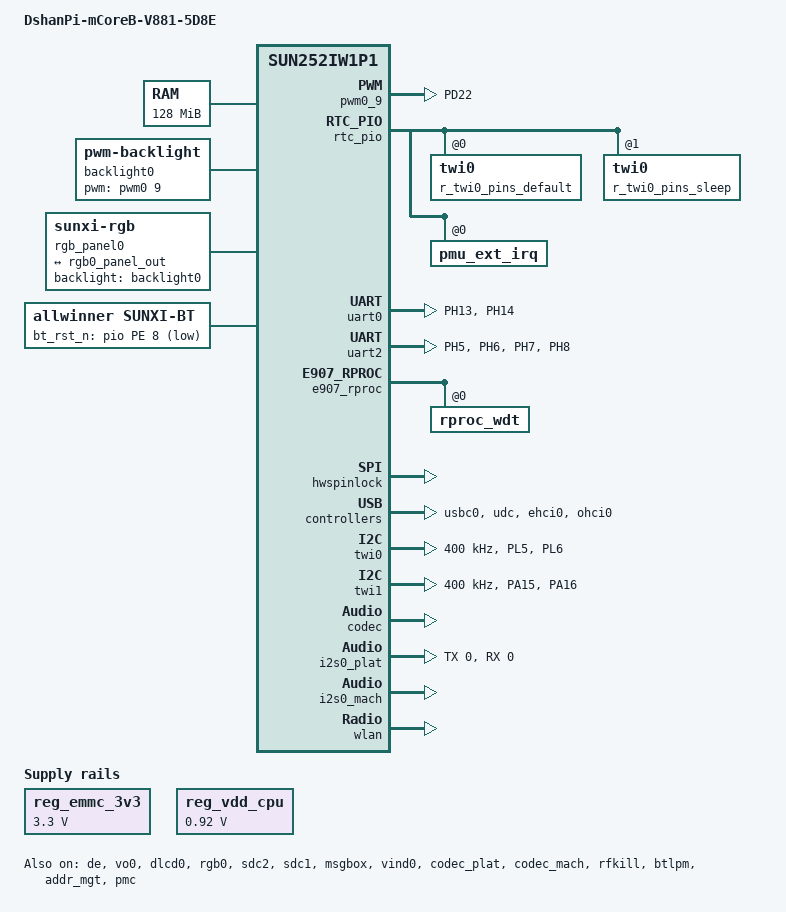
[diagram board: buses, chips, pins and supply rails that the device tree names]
// SPDX-License-Identifier: (GPL-2.0+ or MIT)

/dts-v1/;

#include "sun252iw1p1.dtsi"
#include <dt-bindings/input/input.h>

/{
	board = "V861", "V881", "DshanPi-mCoreB-V881-5D8E";
	model = "DshanPi-mCoreB-V881-5D8E";
	compatible = "allwinner,sun252iw1p1", "riscv,sun252iw1p1";

	memory@40000000 {
		reg = <0x00000000 0x40000000 0x00000000 0x08000000>;
	};
	reg_emmc_3v3: emmc-3v3 {
		compatible = "regulator-fixed";
		regulator-name = "emmc-3v3";
		regulator-min-microvolt = <3300000>;
		regulator-max-microvolt = <3300000>;
		regulator-always-on;
		regulator-boot-on;
	};
	reg_vdd_cpu: vdd-cpu {
		compatible = "regulator-fixed";
		regulator-name = "vdd_cpu";
		regulator-min-microvolt = <920000>;
		regulator-max-microvolt = <920000>;
		regulator-always-on;
		regulator-boot-on;
		status = "okay";
	};
	aliases {
		standby_param = &standby_param;
		pmu0 = &pmc;
	};

	standby_param: standby_param {
		compatible = "allwinner,sun252iw1-standby-param";
		ext32k = <0x1>;
		standby_dram_param = <&dram>;
		memory-region = <&standby_param_reserved>;
		status = "disabled";
		pmc = <(0x010 | 0x001 | 0x000)>;
		pwrctl_type = "PMC";
	};

	reserved-memory {
		standby_param_reserved: standby_param@40fc0000 {
			reg = <0x0 0x40fc0000 0x0 0x1000>;
			no-map;
		};

		e907_dram_reserved: e907_dram@41000000 {
			reg = <0x0 0x41000000 0x0 0x200000>;
			no-map;
		};

		/*
		 * The name should be "vdev%dbuffer".
		 * Its size should be not less than
		 *     RPMSG_BUF_SIZE * (num of buffers in a vring) * 2
		 *   = 512 * (num of buffers in a vring) * 2
		 */
		rv_vdev0buffer: vdev0buffer@41200000 {
			compatible = "shared-dma-pool";
			reg = <0x0 0x41200000 0x0 0x40000>;
			no-map;
		};

		/*
		 * The name should be "vdev%dvring%d".
		 * The size of each should be not less than
		 *     PAGE_ALIGN(vring_size(num, align))
		 *   = PAGE_ALIGN(16 * num + 6 + 2 * num + (pads for align) + 6 + 8 * num)
		 *
		 * (Please refer to the vring layout in include/uapi/linux/virtio_ring.h)
		 */
		rv_vdev0vring0: vdev0vring0@41240000 {
			reg = <0x0 0x41240000 0x0 0x2000>;
			no-map;
		};

		rv_vdev0vring1: vdev0vring1@41242000 {
			reg = <0x0 0x41242000 0x0 0x2000>;
			no-map;
		};

		e907_rpbuf_reserved: e907_rpbuf@41244000 {
			compatible = "shared-dma-pool";
			reg = <0x0 0x41244000 0x0 0x80000>;
			no-map;
		};

		e907_share_irq_table: share_irq_table@412c4000 {
			reg = <0x0 0x412c4000 0x0 0x2000>;
			no-map;
		};

		e907_mem_fw: e907_mem_fw@42400000 {
			/* boot0 & uboot0 load elf addr */
			reg = <0x0 0x42400000 0x0 0x200000>;
		};

		size_pool_mem: size_pool_mem@0{
			size = <0x0 0x3200000>;
		};
	};

	size_pool@0 {
		compatible = "allwinner,sunxi-size-pool-dma";
		memory = <&size_pool_mem>;
		thrs = <128>;
		sizes = <0 51200>;
		fall_to_big_pool = <1>;
	};

	rpbuf_controller0: rpbuf_controller0@0 {
		compatible = "allwinner,rpbuf-controller";
		remoteproc = <&e907_rproc>;
		ctrl_id = <0>;
		memory-region = <&e907_rpbuf_reserved>;
		status = "okay";
	};

	reserved-irq {
		share-e907 {
			arch-name = "e907";
			memory-region = <&e907_share_irq_table>;
			/* defined by sun252iw1-share-irq-dt.h */
			share-irq =
					<1    0x1    E907_PA_IRQ_NUM    C907_PA_IRQ_NUM    0x00000000>,
					<3    0x3    E907_PC_IRQ_NUM    C907_PC_IRQ_NUM    0x00000000>,
					<4    0x4    E907_PD_IRQ_NUM    C907_PD_IRQ_NUM    0x00000000>,
					<5    0x5    E907_PE_IRQ_NUM    C907_PE_IRQ_NUM    0x00000000>,
					<6    0x6    E907_PF_IRQ_NUM    C907_PF_IRQ_NUM    0x00000000>,
					<7    0x7    E907_PG_IRQ_NUM    C907_PG_IRQ_NUM    0x00000000>,
					<8    0x8    E907_PH_IRQ_NUM    C907_PH_IRQ_NUM    0x00000000>,
					<9    0x9    E907_PI_IRQ_NUM    C907_PI_IRQ_NUM    0x00000000>,
					<12   0xc    E907_PL_IRQ_NUM    C907_PL_IRQ_NUM    0x00000000>;
		};
	};

	backlight0: backlight0 {
		compatible = "pwm-backlight";
		status = "okay";
		brightness-levels = <
			  0   1   2   3   4   5   6   7
			  8   9  10  11  12  13  14  15
			 16  17  18  19  20  21  22  23
			 24  25  26  27  28  29  30  31
			 32  33  34  35  36  37  38  39
			 40  41  42  43  44  45  46  47
			 48  49  50  51  52  53  54  55
			 56  57  58  59  60  61  62  63
			 64  65  66  67  68  69  70  71
			 72  73  74  75  76  77  78  79
			 80  81  82  83  84  85  86  87
			 88  89  90  91  92  93  94  95
			 96  97  98  99 100 101 102 103
			104 105 106 107 108 109 110 111
			112 113 114 115 116 117 118 119
			120 121 122 123 124 125 126 127
			128 129 130 131 132 133 134 135
			136 137 138 139 140 141 142 143
			144 145 146 147 148 149 150 151
			152 153 154 155 156 157 158 159
			160 161 162 163 164 165 166 167
			168 169 170 171 172 173 174 175
			176 177 178 179 180 181 182 183
			184 185 186 187 188 189 190 191
			192 193 194 195 196 197 198 199
			200 201 202 203 204 205 206 207
			208 209 210 211 212 213 214 215
			216 217 218 219 220 221 222 223
			224 225 226 227 228 229 230 231
			232 233 234 235 236 237 238 239
			240 241 242 243 244 245 246 247
			248 249 250 251 252 253 254 255>;
		default-brightness-level = <255>;
		pwms = <&pwm0 9 25000 0>;
	};

	rgb_panel0: rgb_panel@0 {
		compatible = "sunxi-rgb";
		status = "okay";
		backlight = <&backlight0>;
		reg = <0>;
		display-timings {
			native-mode = <&rgb_timing0>;
			rgb_timing0: timing0 {
				clock-frequency = <33000000>;
				hactive = <800>;
				hfront-porch = <25>;
				hsync-len = <10>;
				hback-porch = <46>;
				vactive = <480>;
				vfront-porch = <22>;
				vsync-len = <10>;
				vback-porch = <20>;
			};
		};
		port {
			rgb0_panel_in: endpoint {
				remote-endpoint = <&rgb0_panel_out>;
			};
		};
	};

	pm_msgbox:pm_msgbox@1 {
		compatible = "allwinner,sun252iw1-pm-msgbox";
		mboxes = <&msgbox 2>;
		mbox-names = "pm-msgbox";
		status = "okay";
	};
};

&cpu0 {
	cpu-supply = <&reg_vdd_cpu>;
};

&cluster0_opp_table {
	opp@1368000000 {
		status = "disabled";
	};
	opp@1416000000 {
		status = "disabled";
	};
};

&ve {
	ve-supply = <&reg_vdd_cpu>;
};

&pio {
	uart0_pins_active: uart0_pins@0 {
		pins = "PH13", "PH14";
		function = "uart0";
	};

	uart0_pins_sleep: uart0_pins@1 {
		pins = "PH13", "PH14";
		function = "io_disabled";
	};

	uart1_pins_active: uart1_pins@0 {
		pins = "PG4", "PG5", "PG6", "PG7";
		function = "uart1";
	};

	uart1_pins_sleep: uart1_pins@1 {
		pins = "PG4", "PG5", "PG6", "PG7";
		function = "io_disabled";
	};

	uart2_pins_active: uart2_pins@0 {
		pins = "PH5", "PH6", "PH7", "PH8";
		function = "uart2";
	};

	uart2_pins_sleep: uart2_pins@1 {
		pins = "PH5", "PH6", "PH7", "PH8";
		function = "io_disabled";
	};

	uart3_pins_active: uart3_pins@0 {
		pins = "PH0", "PH1";
		function = "uart3";
	};

	uart3_pins_sleep: uart3_pins@1 {
		pins = "PH0", "PH1";
		function = "io_disabled";
	};

	spi0_pins_default: spi0@0 {
		pins = "PC0", "PC2", "PC3"; /* clk, mosi, miso */
		function = "spi0";
		allwinner,drive = <1>;
	};

	spi0_pins_cs: spi0@1 {
		pins = "PC1", "PC4", "PC5"; /* cs, wp, hold */
		function = "spi0";
		allwinner,drive = <1>;
		bias-pull-up;
	};

	spi0_pins_sleep: spi0@3 {
		pins = "PC0", "PC1", "PC2", "PC3", "PC4", "PC5";
		function = "io_disabled";
	};

	spif_pins_default: spif@0 {
		pins = "PC0", "PC2", "PC3"; /* clk, mosi, miso */
		function = "spif";
		allwinner,drive = <1>;
	};

	spif_pins_cs: spif@1 {
		pins = "PC1", "PC4", "PC5"; /* cs, wp, hold */
		function = "spif";
		allwinner,drive = <1>;
		bias-pull-up;
	};

	spif_pins_sleep: spif@2 {
		pins = "PC0", "PC1", "PC2", "PC3", "PC4", "PC5";
		function = "io_disabled";
	};

	twi0_pins_default: twi0@0 {
		pins = "PD20", "PD21";
		function = "twi0";
		bias-pull-up;
		allwinner,drive = <0>;
	};

	twi0_pins_sleep: twi0@1 {
		pins = "PD20", "PD21";
		function = "gpio_in";
	};

	twi1_pins_default: twi1@0 {
		pins = "PA15", "PA16";
		function = "twi1";
		bias-pull-up;
		allwinner,drive = <0>;
	};

	twi1_pins_sleep: twi1@1 {
		pins = "PA15", "PA16";
		function = "gpio_in";
	};

	twi2_pins_default: twi2@0 {
		pins = "PE10", "PE11";
		function = "twi2";
		bias-pull-up;
		allwinner,drive = <0>;
	};

	twi2_pins_sleep: twi2@1 {
		pins = "PE10", "PE11";
		function = "gpio_in";
	};

	twi3_pins_default: twi3@0 {
		pins = "PE12", "PE13";
		function = "twi3";
		bias-pull-up;
		allwinner,drive = <0>;
	};

	twi3_pins_sleep: twi3@1 {
		pins = "PE12", "PE13";
		function = "gpio_in";
	};

	i2s0_pins_a: i2s0@0 {
		pins = "PH0";
		function = "i2s0_mclk";
		allwinner,drive = <1>;
		bias-disable;
	};

	i2s0_pins_b: i2s0@1 {
		pins = "PH1";
		function = "i2s0_bclk";
		allwinner,drive = <1>;
		bias-disable;
	};

	i2s0_pins_c: i2s0@2 {
		pins = "PH2";
		function = "i2s0_lrck";
		allwinner,drive = <1>;
		bias-disable;
	};

	i2s0_pins_d: i2s0@3 {
		pins = "PH3";
		function = "i2s0_dout0";
		allwinner,drive = <1>;
		bias-disable;
	};

	i2s0_pins_e: i2s0@4 {
		pins = "PH4";
		function = "i2s0_din0";
		allwinner,drive = <1>;
		bias-disable;
	};

	i2s0_pins_f: i2s0@5 {
		pins = "PH0", "PH1", "PH2", "PH3", "PH4";
		function = "io_disabled";
		allwinner,drive = <1>;
		bias-disable;
	};

	pwm0_9_pins_active: pwm0_9@0 {
		pins = "PD22";
		function = "pwm_9";
	};

	pwm0_9_pins_sleep: pwm0_9@1 {
		pins = "PD22";
		function = "io_disabled";
		bias-pull-down;
	};

	gmac_pins_a: gmac@0 {
		pins = "PE0", "PE1", "PE2", "PE3",
		     "PE4", "PE5", "PE6", "PE7",
		     "PE8", "PE9", "PE10";
		function = "rmii0";
		drive-strength = <40>;
	};

	gmac_pins_b: gmac@1 {
		pins = "PE0", "PE1", "PE2", "PE3",
		     "PE4", "PE5", "PE6", "PE7",
		     "PE8", "PE9", "PE10";
		function = "io_disabled";
	};

	sdc0_pins_f: sdc0@5 {
		pins = "PF0", "PF1", "PF2",
			 "PF3", "PF4", "PF5";
		function = "io_disabled";
		bias-disable;
		power-source = <3300>;
	};
};

&de {
	chn_cfg_mode = <0>;
	status = "okay";
};

&vo0 {
	status = "okay";
};

&dlcd0 {
	status = "okay";
};

&rgb0 {
	status = "okay";
	pinctrl-names = "active", "sleep";
	pinctrl-0 = <&rgb24_pins_a> , <&rgb24_PD18_pin_a>;
	pinctrl-1 = <&rgb24_pins_b>;
	ports {
		port@1 {
			reg = <1>;
			rgb0_panel_out: endpoint@0 {
				reg = <0>;
				remote-endpoint = <&rgb0_panel_in>;
			};
		};
	};
};

&pwm0_9 {
	pinctrl-names = "active", "sleep";
	pinctrl-0 = <&pwm0_9_pins_active>;
	pinctrl-1 = <&pwm0_9_pins_sleep>;
	status = "okay";
};

&rtc_pio {
	r_twi0_pins_default: twi0@0 {
		pins = "PL5", "PL6";
		function = "s_twi0";
		bias-pull-up;
		allwinner,drive = <0>;
	};

	r_twi0_pins_sleep: twi0@1 {
		pins = "PL5", "PL6";
		function = "gpio_in";
	};

	pmu_ext_irq: pmu_ext_irq@0 {
		pins = "PL5";
		function = "gpio_in";
		bias-pull-down;
	};
};

&soc {
	gpio-keys {
		compatible = "gpio-keys";
		status = "disabled";

		power {
			label = "gpio-keys";
			linux,code = <KEY_POWER>;
			debounce-interval = <20>;
			gpios = <&pio PF 6 (GPIO_ACTIVE_LOW | GPIO_PULL_UP)>;
			wakeup-source;
		};
	};

	auto_print@54321 {
		reg = <0x0 0x54321 0x0 0x0>;
		device_type = "auto_print";
		status = "okay";
	};
};

&uart0 {
	pinctrl-names = "default", "sleep";
	pinctrl-0 = <&uart0_pins_active>;
	pinctrl-1 = <&uart0_pins_sleep>;
	status = "okay";
};

&uart1 {
	pinctrl-names = "default", "sleep";
	pinctrl-0 = <&uart1_pins_active>;
	pinctrl-1 = <&uart1_pins_sleep>;
	status = "disabled";
};

&uart2 {
	pinctrl-names = "default", "sleep";
	pinctrl-0 = <&uart2_pins_active>;
	pinctrl-1 = <&uart2_pins_sleep>;
	status = "okay";
};

&uart3 {
	pinctrl-names = "default", "sleep";
	pinctrl-0 = <&uart3_pins_active>;
	pinctrl-1 = <&uart3_pins_sleep>;
	uart3_type = <2>;
	status = "disabled";
};

&spi0 {
	pinctrl-0 = <&spi0_pins_default &spi0_pins_cs>;
	pinctrl-1 = <&spi0_pins_sleep>;
	pinctrl-names = "default", "sleep";
	sunxi,spi-bus-mode = <SUNXI_SPI_BUS_NAND>;
	sunxi,spi-cs-mode = <SUNXI_SPI_CS_SOFT>;
	status = "disabled";

	spi_board0 {
		compatible = "jedec,spi-nor";
		spi-max-frequency=<25000000>;
		reg = <0x0>;
		spi-rx-bus-width=<0x01>;
		spi-tx-bus-width=<0x01>;
		status = "disabled";
	};
	spi-nand@0 {
		compatible = "spi-nand";
		spi-max-frequency=<100000000>;
		reg = <0x0>;
		spi-rx-bus-width=<0x04>;
		spi-tx-bus-width=<0x04>;
		status = "disabled";
	};
};

&spif0 {
	clock-frequency = <100000000>;
	pinctrl-0 = <&spif_pins_default &spif_pins_cs>;
	pinctrl-1 = <&spif_pins_sleep>;
	pinctrl-names = "default", "sleep";
	spif-rx-bus-width = <0x4>;
	spif-tx-bus-width = <0x4>;
	//prefetch_read_mode_enabled;	/* choose prefect read mode */
	//dqs_mode_enabled;				/* choose dqs mode(nand provide clk mode) */
	dtr_mode_enabled;				/* choose double edge trigger mode */
	io_mode_enabled;				/* 1_x_x && x_x_x mode */
	status = "disabled";

	spif-nor  {
		device_type = "spi_board0";
		compatible = "spif-nor";
		spi-max-frequency = <0x5f5e100>;
		reg = <0x0>;
		status = "disabled";
	};
};

&gpadc0 {
	channel_num = <4>;
	channel_select = <0x1>;
	channel_data_select = <0x0>;
	channel_compare_select = <0x1>;
	channel_cld_select = <0x1>;
	channel_chd_select = <0x1>;
	channel0_compare_lowdata = <1200000>;
	channel0_compare_higdata = <1700000>;
	/* Boot-stall isolation: keep vendor driver unchanged. */
	status = "disabled";
	keyadc0 {
		key_cnt = <5>;
		key0_vol = <210>;
		key0_val = <KEY_VOLUMEUP>;
		key1_vol = <410>;
		key1_val = <KEY_VOLUMEDOWN>;
		key2_vol = <590>;
		key2_val = <KEY_MENU>;
		key3_vol = <750>;
		key3_val = <KEY_OK>;
		key4_vol = <880>;
		key4_val = <KEY_HOME>;
	};
};

&sdc2 {
	non-removable;
	bus-width = <8>;
	no-sdio;
	no-sd;
	ctl-spec-caps = <0x328>;
	cap-mmc-highspeed;
	sunxi-power-save-mode;
	sunxi-dis-signal-vol-sw;
	mmc-bootpart-noacc;
	/*cap-hsq;*/
	/* b2c-ecc-on; */
	/* cqe-ecc-on; */
	max-frequency = <50000000>;
	/*vmmc-supply = <&reg_cldo3>;*/
	/*emmc io vol 3.3v*/
	/*vqmmc-supply = <&reg_aldo1>;*/
	/*emmc io vol 1.8v*/
	/*vqmmc-supply = <&reg_cldo1>;*/
	status = "okay";
	vmmc-supply = <&reg_emmc_3v3>;
	vqmmc-supply = <&reg_emmc_3v3>;
	no-1-8-v;
};

&sdc0 {
	bus-width = <4>;
	cd-gpios = <&pio PF 6 (GPIO_ACTIVE_LOW | GPIO_PULL_UP)>;
	/*non-removable;*/
	/*broken-cd;*/
	/*cd-inverted*/
	/*data3-detect;*/
	card-pwr-gpios = <&pio PH 15 1 1 2 0xffffffff>;
	pinctrl-2 = <&sdc0_pins_f>;		/*Set the GPIO function in sleep mode to disable*/
	cd-used-24M;
	cd-set-debounce = <0x1>;
	cap-sd-highspeed;
	sd-uhs-sdr50;
	sd-uhs-ddr50;
	sd-uhs-sdr104;
	no-sdio;
	no-mmc;
	/* b2c-ecc-on; */
	sunxi-power-save-mode;
	/*sunxi-dis-signal-vol-sw;*/
	max-frequency = <150000000>;
	ctl-spec-caps = <0x428>;
	/*vmmc-supply = <&reg_cldo3>;*/
	/*vqmmc33sw-supply = <&reg_cldo3>;*/
	/*vdmmc33sw-supply = <&reg_cldo3>;*/
	/*vqmmc18sw-supply = <&reg_aldo4>;*/
	/*vdmmc18sw-supply = <&reg_aldo4>;*/
	disable_pf_reboot = <1>;		/*When rebooting, set the status of the PF pin to disable*/
	status = "disabled";
};

&sdc1 {
	bus-width = <4>;
	no-mmc;
	no-sd;
	cap-sd-highspeed;
	/*sd-uhs-sdr12*/
	sd-uhs-sdr25;
	sd-uhs-sdr50;
	sd-uhs-ddr50;
	sd-uhs-sdr104;
	/*sunxi-power-save-mode;*/
	sunxi-dis-signal-vol-sw;
	cap-sdio-irq;
	keep-power-in-suspend;
	ignore-pm-notify;
	max-frequency = <150000000>;
	ctl-spec-caps = <0x428>;
	status = "okay";
};

&e907_rproc {
	firmware-name = "amp_rv0.bin";
	mboxes = <&msgbox 0>, <&msgbox 2>;
	mbox-names = "arm-kick", "arm-standby";
	auto-boot;
	skip-shutdown;
	fw-region = <&e907_mem_fw>;
	memory-region = <&e907_dram_reserved>, <&rv_vdev0buffer>, <&rv_vdev0vring0>, <&rv_vdev0vring1>, <&e907_share_irq_table>;
	fw-partitions = "riscv0", "riscv0-r";
	fw-partition-sectors = <2432>;
	memory-mappings =
		/* < DA         len             PA >    */
		/* DRAM */
		< 0x40000000       0xBfffffff    0x40000000 >;
	stop-record-reg = <0x4a00020c>;

	share-irq = "e907";
	status = "okay";

	rproc_wdt: rproc_wdt@0 {
		timeout_ms = <6000>;
		try_times = <3>;
		reset_type = <0x2>;
		panic_on_timeout = <0>;
		status = "okay";
	};
};

&msgbox {
	status = "okay";
};

&hwspinlock {
	status = "okay";
};

/*
 * usb_port_type: usb mode. 0-device, 1-host, 2-otg.
 * usb_detect_type: usb hotplug detect mode. 0-none, 1-vbus/id detect, 2-pmu detect, 3-tcpm detect.
 * usb_detect_mode: 0-thread scan, 1-id gpio interrupt, 2-pmu notify.
 * usb_id_gpio: gpio for id detect.
 * usb_det_vbus_gpio: gpio for id detect. gpio or "axp_ctrl".
 * usb_wakeup_suspend: 0-SUPER_STANDBY, 1-USB_STANDBY.
 */
&usbc0 {
	device_type = "usbc0";
	usb_port_type = <0>;
	usb_detect_type = <1>;
	usb_detect_mode = <1>;
	usb_id_gpio = <&pio PH 2 GPIO_ACTIVE_HIGH>;
	usb_det_vbus_gpio;
	usb_wakeup_suspend = <0>;
	status = "okay";
	det_vbus_supply = <&pmc_usb_power_supply>;
};

&udc {
	status = "okay";
	det_vbus_supply = <&pmc_usb_power_supply>;
};

&ehci0 {
	status = "okay";
};

&ohci0 {
	status = "okay";
};

&twi0 {
	clock-frequency = <400000>;
	pinctrl-0 = <&r_twi0_pins_default>;
	pinctrl-1 = <&r_twi0_pins_sleep>;
	pinctrl-names = "default", "sleep";
	twi_drv_used = <1>;
	status = "okay";

};

&twi1 {
	clock-frequency = <400000>;
	pinctrl-0 = <&twi1_pins_default>;
	pinctrl-1 = <&twi1_pins_sleep>;
	pinctrl-names = "default", "sleep";
	twi_drv_used = <1>;
	status = "okay";
};

&twi2 {
	clock-frequency = <400000>;
	pinctrl-0 = <&twi2_pins_default>;
	pinctrl-1 = <&twi2_pins_sleep>;
	pinctrl-names = "default", "sleep";
	twi_drv_used = <1>;
	status = "disabled";
};

&twi3 {
	clock-frequency = <400000>;
	pinctrl-0 = <&twi3_pins_default>;
	pinctrl-1 = <&twi3_pins_sleep>;
	pinctrl-names = "default", "sleep";
	twi_drv_used = <1>;
	status = "disabled";

	mir3da: mir3da@27{
		compatible = "allwinner,mir3da";
		reg = <0x27>;
		device_type = "gsensor";
		status = "disabled";
		gsensor_twi_id = <0x3>;
		gsensor_twi_addr = <0x27>;
		gsesnor_int = <>;
		gsensor_vcc_io_val = <0>;
	};
};

&vind0 {
	csi_top = <300000000>;
	status = "okay";

	csi2: csi@5822000 {
		pinctrl-names = "default","sleep";
		pinctrl-0 = <&ncsi_8bit_pins_a>;
		pinctrl-1 = <&ncsi_8bit_pins_b>;
		status = "disabled";
	};

	tdm0: tdm@5908000 {
		work_mode = <0x0>;
		delay_init = <0>;
	};

	isp00:isp@5900000 {
		work_mode = <0x0>;
		delay_init = <0>;
	};

	isp01:isp@58ffffc {
		status = "disabled";
		delay_init = <0>;
	};

	isp02:isp@58ffff8 {
		status = "disabled";
		delay_init = <0>;
	};

	isp03:isp@58ffff4 {
		status = "disabled";
		delay_init = <0>;
	};

	isp10:isp@4 {
		status = "disabled";
	};

	isp20:isp@5 {
		status = "disabled";
	};

	isp30:isp@6 {
		status = "disabled";
	};

	scaler00:scaler@5910000 {
		work_mode = <0x0>;
		status = "okay";
		delay_init = <0>;
	};

	scaler01:scaler@590fffc {
		status = "disabled";
		delay_init = <0>;
	};

	scaler02:scaler@590fff8 {
		status = "disabled";
		delay_init = <0>;
	};

	scaler03:scaler@590fff4 {
		status = "disabled";
		delay_init = <0>;
	};

	scaler10:scaler@5910400 {
		work_mode = <0x0>;
		status = "okay";
		delay_init = <0>;
	};

	scaler11:scaler@59103fc {
		status = "disabled";
		delay_init = <0>;
	};

	scaler12:scaler@59103f8 {
		status = "disabled";
		delay_init = <0>;
	};

	scaler13:scaler@59103f4 {
		status = "disabled";
		delay_init = <0>;
	};

	scaler20:scaler@5910800 {
		work_mode = <0x0>;
		status = "okay";
		delay_init = <0>;
	};

	scaler21:scaler@59107fc {
		status = "disabled";
		delay_init = <0>;
	};

	scaler22:scaler@59107f8 {
		status = "disabled";
		delay_init = <0>;
	};

	scaler23:scaler@59107f4 {
		status = "disabled";
		delay_init = <0>;
	};

	scaler30:scaler@5910c00 {
		work_mode = <0x0>;
		status = "okay";
		delay_init = <0>;
	};

	scaler31:scaler@5910bfc {
		status = "disabled";
		delay_init = <0>;
	};

	scaler32:scaler@5910bf8 {
		status = "disabled";
		delay_init = <0>;
	};

	scaler33:scaler@5910bf4 {
		status = "disabled";
		delay_init = <0>;
	};

	actuator0: actuator@2108180 {
		device_type = "actuator0";
		actuator0_slave = <0x18>;
		actuator0_af_pwdn = <>;
		actuator0_afvdd = "afvcc-csi";
		actuator0_afvdd_vol = <2800000>;
		status = "disabled";
	};

	flash0: flash@2108190 {
		device_type = "flash0";
		flash0_type = <2>;
		flash0_en = <>;
		flash0_mode = <>;
		flash0_flvdd = "";
		flash0_flvdd_vol = <>;
		device_id = <0>;
		status = "disabled";
	};

	sensor0: sensor@5812000 {
		device_type = "sensor0";
		sensor0_mname = "gc4663_mipi";
		sensor0_twi_cci_id = <1>;
		sensor0_twi_addr = <0x52>;
		sensor0_mclk_id = <0>;
		sensor0_pos = "rear";
		sensor0_isp_used = <1>;
		sensor0_fmt = <1>;
		sensor0_stby_mode = <0>;
		sensor0_vflip = <0>;
		sensor0_hflip = <0>;
		sensor0_iovdd-supply = <>;
		sensor0_iovdd_vol = <>;
		sensor0_avdd-supply;
		sensor0_avdd_vol = <2800000>;
		sensor0_dvdd-supply = <>;
		sensor0_dvdd_vol = <>;
		sensor0_power_en = <>;
		sensor0_reset = <&pio PA 18 GPIO_ACTIVE_LOW>;
		sensor0_pwdn = <&pio PH 9 GPIO_ACTIVE_LOW>;
		status = "okay";
	};

	sensor1: sensor@5812010 {
		device_type = "sensor1";
		sensor1_mname = "gc1084_mipi_2";
		sensor1_twi_cci_id = <0>;
		sensor1_twi_addr = <0x7e>;
		sensor1_mclk_id = <1>;
		sensor1_pos = "front";
		sensor1_isp_used = <1>;
		sensor1_fmt = <1>;
		sensor1_stby_mode = <0>;
		sensor1_vflip = <0>;
		sensor1_hflip = <0>;
		sensor1_iovdd-supply = <>;
		sensor1_iovdd_vol = <>;
		sensor1_avdd-supply = <>;
		sensor1_avdd_vol = <2800000>;
		sensor1_dvdd-supply = <>;
		sensor1_dvdd_vol = <>;
		sensor1_power_en = <>;
		sensor1_reset = <&pio PE 1 GPIO_ACTIVE_LOW>;
		sensor1_pwdn = <>;
		status = "disabled";
	};

	sensor2: sensor@5812020 {
		device_type = "sensor2";
		sensor2_mname = "gc1084_mipi_3";
		sensor2_twi_cci_id = <0>;
		sensor2_twi_addr = <0x7e>;
		sensor2_mclk_id = <1>;
		sensor2_pos = "front";
		sensor2_isp_used = <1>;
		sensor2_fmt = <1>;
		sensor2_stby_mode = <0>;
		sensor2_vflip = <0>;
		sensor2_hflip = <0>;
		sensor2_iovdd-supply = <>;
		sensor2_iovdd_vol = <>;
		sensor2_avdd-supply = <>;
		sensor2_avdd_vol = <>;
		sensor2_dvdd-supply = <>;
		sensor2_dvdd_vol = <>;
		sensor2_power_en = <>;
		sensor2_reset = <&pio PD 13 GPIO_ACTIVE_LOW>;
		sensor2_pwdn = <>;
		status = "disabled";
	};

	sensor_list0:sensor_list@5812040 {
		sensor00_mname = "gc5035_mipi";
		sensor00_twi_addr = <0x6c>;
		sensor00_type = <1>;
		sensor00_hflip = <0>;
		sensor00_vflip = <0>;
		sensor00_act_used = <1>;
		sensor00_act_name = "dw9714_act";
		sensor00_act_twi_addr = <0x18>;
		sensor01_mname = "ov5675_mipi";
		sensor01_twi_addr = <0x6c>;
		sensor01_type = <1>;
		sensor01_hflip =  <0>;
		sensor01_vflip = <0>;
		sensor01_act_used = <1>;
		sensor01_act_name = "dw9714_act";
		sensor01_act_twi_addr = <0x18>;
		sensor02_mname = "sp5409_mipi";
		sensor02_twi_addr = <0x78>;
		sensor02_type = <1>;
		sensor02_hflip =  <0>;
		sensor02_vflip = <0>;
		sensor02_act_used = <1>;
		sensor02_act_name = "dw9714_act";
		sensor02_act_twi_addr = <0x18>;
		status = "disabled";
	};

	sensor_list1:sensor_list@5812050 {
		sensor10_mname = "gc02m2_mipi";
		sensor10_twi_addr = <0x20>;
		sensor10_type = <1>;
		sensor10_hflip =  <0>;
		sensor10_vflip = <0>;
		sensor10_act_used = <0>;
		sensor10_act_name = "";
		sensor10_act_twi_addr = <>;
		sensor11_mname = "ov02a10_mipi";
		sensor11_twi_addr = <0x7a>;
		sensor11_type = <1>;
		sensor11_hflip =  <1>;
		sensor11_vflip = <0>;
		sensor11_act_used = <0>;
		sensor11_act_name = "";
		sensor11_act_twi_addr = <>;
		sensor12_mname = "gc030a_mipi";
		sensor12_twi_addr = <0x42>;
		sensor12_type = <1>;
		sensor12_hflip =  <0>;
		sensor12_vflip = <0>;
		sensor12_act_used = <0>;
		sensor12_act_name = "";
		sensor12_act_twi_addr = <>;
		status = "disabled";
	};

	vinc00:vinc@5830000 {
		vinc0_csi_sel = <0>;
		vinc0_mipi_sel = <0>;
		vinc0_isp_sel = <0>;
		vinc0_isp_tx_ch = <0>;
		vinc0_tdm_rx_sel = <0>;
		vinc0_vipp_sel = <0>;
		vinc0_rear_sensor_sel = <0>;
		vinc0_front_sensor_sel = <0>;
		vinc0_sensor_list = <0>;
		delay_init = <0>;
		work_mode = <0x0>;
		status = "okay";
	};

	vinc01:vinc@582fffc {
		vinc1_csi_sel = <1>;
		vinc1_mipi_sel = <1>;
		vinc1_isp_sel = <1>;
		vinc1_isp_tx_ch = <0>;
		vinc1_tdm_rx_sel = <1>;
		vinc1_vipp_sel = <1>;
		vinc1_rear_sensor_sel = <1>;
		vinc1_front_sensor_sel = <1>;
		vinc1_sensor_list = <0>;
		delay_init = <0>;
		status = "disabled";
	};

	vinc02:vinc@582fff8 {
		vinc2_csi_sel = <2>;
		vinc2_mipi_sel = <2>;
		vinc2_isp_sel = <2>;
		vinc2_isp_tx_ch = <0>;
		vinc2_tdm_rx_sel = <2>;
		vinc2_vipp_sel = <2>;
		vinc2_rear_sensor_sel = <2>;
		vinc2_front_sensor_sel = <2>;
		vinc2_sensor_list = <0>;
		delay_init = <0>;
		status = "disabled";
	};

	vinc03:vinc@582fff4 {
		vinc3_csi_sel = <0>;
		vinc3_mipi_sel = <0>;
		vinc3_isp_sel = <3>;
		vinc3_isp_tx_ch = <0>;
		vinc3_tdm_rx_sel = <3>;
		vinc3_vipp_sel = <3>;
		vinc3_rear_sensor_sel = <0>;
		vinc3_front_sensor_sel = <0>;
		vinc3_sensor_list = <0>;
		delay_init = <0>;
		status = "disabled";
	};

	vinc10:vinc@5831000 {
		vinc4_csi_sel = <0>;
		vinc4_mipi_sel = <0>;
		vinc4_isp_sel = <0>;
		vinc4_isp_tx_ch = <0>;
		vinc4_tdm_rx_sel = <0>;
		vinc4_vipp_sel = <4>;
		vinc4_rear_sensor_sel = <0>;
		vinc4_front_sensor_sel = <0>;
		vinc4_sensor_list = <0>;
		delay_init = <0>;
		work_mode = <0x0>;
		status = "okay";
	};

	vinc11:vinc@5830ffc {
		vinc5_csi_sel = <1>;
		vinc5_mipi_sel = <1>;
		vinc5_isp_sel = <1>;
		vinc5_isp_tx_ch = <0>;
		vinc5_tdm_rx_sel = <1>;
		vinc5_vipp_sel = <5>;
		vinc5_rear_sensor_sel = <1>;
		vinc5_front_sensor_sel = <1>;
		vinc5_sensor_list = <0>;
		delay_init = <0>;
		status = "disabled";
	};

	vinc12:vinc@5830ff8 {
		vinc6_csi_sel = <2>;
		vinc6_mipi_sel = <2>;
		vinc6_isp_sel = <2>;
		vinc6_isp_tx_ch = <0>;
		vinc6_tdm_rx_sel = <2>;
		vinc6_vipp_sel = <6>;
		vinc6_rear_sensor_sel = <2>;
		vinc6_front_sensor_sel = <2>;
		vinc6_sensor_list = <0>;
		delay_init = <0>;
		status = "disabled";
	};

	vinc13:vinc@5830ff4 {
		vinc7_csi_sel = <0>;
		vinc7_mipi_sel = <0>;
		vinc7_isp_sel = <3>;
		vinc7_isp_tx_ch = <0>;
		vinc7_tdm_rx_sel = <3>;
		vinc7_vipp_sel = <7>;
		vinc7_rear_sensor_sel = <0>;
		vinc7_front_sensor_sel = <0>;
		vinc7_sensor_list = <0>;
		delay_init = <0>;
		status = "disabled";
	};

	vinc20:vinc@5832000 {
		vinc8_csi_sel = <0>;
		vinc8_mipi_sel = <0>;
		vinc8_isp_sel = <0>;
		vinc8_isp_tx_ch = <0>;
		vinc8_tdm_rx_sel = <0>;
		vinc8_vipp_sel = <8>;
		vinc8_rear_sensor_sel = <0>;
		vinc8_front_sensor_sel = <0>;
		vinc8_sensor_list = <0>;
		delay_init = <0>;
		work_mode = <0x0>;
		status = "okay";
	};

	vinc21:vinc@5831ffc {
		vinc9_csi_sel = <1>;
		vinc9_mipi_sel = <1>;
		vinc9_isp_sel = <1>;
		vinc9_isp_tx_ch = <0>;
		vinc9_tdm_rx_sel = <1>;
		vinc9_vipp_sel = <9>;
		vinc9_rear_sensor_sel = <1>;
		vinc9_front_sensor_sel = <1>;
		vinc9_sensor_list = <0>;
		delay_init = <0>;
		status = "disabled";
	};

	vinc22:vinc@5831ff8 {
		vinc10_csi_sel = <2>;
		vinc10_mipi_sel = <2>;
		vinc10_isp_sel = <2>;
		vinc10_isp_tx_ch = <0>;
		vinc10_tdm_rx_sel = <2>;
		vinc10_vipp_sel = <10>;
		vinc10_rear_sensor_sel = <2>;
		vinc10_front_sensor_sel = <2>;
		vinc10_sensor_list = <0>;
		delay_init = <0>;
		status = "disabled";
	};

	vinc23:vinc@5831ff4 {
		vinc11_csi_sel = <0>;
		vinc11_mipi_sel = <0>;
		vinc11_isp_sel = <3>;
		vinc11_isp_tx_ch = <0>;
		vinc11_tdm_rx_sel = <3>;
		vinc11_vipp_sel = <11>;
		vinc11_rear_sensor_sel = <0>;
		vinc11_front_sensor_sel = <0>;
		vinc11_sensor_list = <0>;
		delay_init = <0>;
		status = "disabled";
	};

	vinc30:vinc@5833000 {
		vinc12_csi_sel = <0>;
		vinc12_mipi_sel = <0>;
		vinc12_isp_sel = <0>;
		vinc12_isp_tx_ch = <0>;
		vinc12_tdm_rx_sel = <0>;
		vinc12_vipp_sel = <12>;
		vinc12_rear_sensor_sel = <0>;
		vinc12_front_sensor_sel = <0>;
		vinc12_sensor_list = <0>;
		delay_init = <0>;
		work_mode = <0x0>;
		status = "okay";
	};

	vinc31:vinc@5832ffc {
		vinc13_csi_sel = <1>;
		vinc13_mipi_sel = <1>;
		vinc13_isp_sel = <1>;
		vinc13_isp_tx_ch = <0>;
		vinc13_tdm_rx_sel = <1>;
		vinc13_vipp_sel = <13>;
		vinc13_rear_sensor_sel = <1>;
		vinc13_front_sensor_sel = <1>;
		vinc13_sensor_list = <0>;
		delay_init = <0>;
		status = "disabled";
	};

	vinc32:vinc@5832ff8 {
		vinc14_csi_sel = <2>;
		vinc14_mipi_sel = <2>;
		vinc14_isp_sel = <2>;
		vinc14_isp_tx_ch = <0>;
		vinc14_tdm_rx_sel = <2>;
		vinc14_vipp_sel = <14>;
		vinc14_rear_sensor_sel = <2>;
		vinc14_front_sensor_sel = <2>;
		vinc14_sensor_list = <0>;
		delay_init = <0>;
		status = "disabled";
	};

	vinc33:vinc@5832ff4 {
		vinc15_csi_sel = <0>;
		vinc15_mipi_sel = <0>;
		vinc15_isp_sel = <3>;
		vinc15_isp_tx_ch = <0>;
		vinc15_tdm_rx_sel = <3>;
		vinc15_vipp_sel = <15>;
		vinc15_rear_sensor_sel = <0>;
		vinc15_front_sensor_sel = <0>;
		vinc15_sensor_list = <0>;
		delay_init = <0>;
		status = "disabled";
	};
};

/* audio dirver module -> audio codec */
&codec {
	tx-hub-en;
	rx-sync-en;

	dac-vol		= <32>;		/* default value:32 range:0->63 */
	dacl-vol	= <129>;	/* default value:129 range:0->255 */
	adc1-vol	= <129>;	/* default value:129 range:0->255 */
	adc2-vol	= <129>;	/* default value:129 range:0->255 */
	lineoutl-vol	= <7>;		/* default value:7 range:0->7 */
	adc1-gain	= <15>;		/* default value:15 range:0->15 */
	adc2-gain	= <15>;		/* default value:15 range:0->15 */

	pa-pin-max	= <1>;
	pa-pin-0	= <&pio PH 12 GPIO_ACTIVE_HIGH>;
	pa-pin-level-0	= <1>;
	pa-pin-msleep-0	= <0>;

	status = "okay";
};

&codec_plat {
	playback-cma	= <32>;
	capture-cma	= <32>;
	status = "okay";
};

&codec_mach {
	status = "okay";
	soundcard-mach,cpu {
		sound-dai = <&codec_plat>;
	};
	soundcard-mach,codec {
		sound-dai = <&codec>;
	};
};

/* audio dirver module -> I2S/PCM */
&i2s0_plat {
	tdm-num		= <0>;
	tx-pin		= <0>;
	rx-pin		= <0>;

	pinctrl-used;
	pinctrl-names	= "default","sleep";

	/* default not use i2s pins for rproc rtos uart mux */
	/* pinctrl-0	= <&i2s0_pins_a &i2s0_pins_b &i2s0_pins_c &i2s0_pins_d &i2s0_pins_e>; */
	/* pinctrl-1	= <&i2s0_pins_f>; */
	pinctrl-0	= <>;
	pinctrl-1	= <>;

	tx-hub-en;
	rx-sync-en;
	playback-cma	= <32>;
	capture-cma	= <32>;
	status		= "okay";
};

&i2s0_mach {
	soundcard-mach,format		= "i2s";

	soundcard-mach,name		= "sndi2s0";
	soundcard-mach,frame-master	= <&i2s0_cpu>;
	soundcard-mach,bitclock-master	= <&i2s0_cpu>;
	/* soundcard-mach,frame-inversion; */
	/* soundcard-mach,bitclock-inversion; */
	soundcard-mach,slot-num		= <2>;
	soundcard-mach,slot-width	= <32>;
	status		= "okay";
	i2s0_cpu: soundcard-mach,cpu {
		sound-dai = <&i2s0_plat>;
		/* note: pll freq = 24.576M or 22.5792M * pll-fs */
		soundcard-mach,pll-fs	= <1>;
		/* note:
		 * mclk freq = mclk-fs * 12.288M or 11.2896M	(when mclk-fp ture)
		 * mclk freq = mclk-fs * pcm rate		(when mclk-fp false)
		 */
		soundcard-mach,mclk-fp;
		soundcard-mach,mclk-fs	= <1>;
	};

	i2s0_codec: soundcard-mach,codec {
	};
};

&rfkill {
	compatible = "allwinner,sunxi-rfkill";
	chip_en;
	power_en;
	pinctrl-0;
	pinctrl-names;
	status = "okay";

	/* wlan session */
	wlan {
		compatible    = "allwinner,sunxi-wlan";
		wlan_busnum   = <0x1>;
		wlan_regon    = <&pio PE 9 GPIO_ACTIVE_HIGH>;
		wlan_hostwake = <&pio PG 7 GPIO_ACTIVE_HIGH>;
		wakeup-source;
	};

	/* bt session */
	bt {
		compatible    = "allwinner,sunxi-bt";
		bt_rst_n      = <&pio PE 8 GPIO_ACTIVE_LOW>;
		status        = "okay";
	};

};

&btlpm {
	compatible = "allwinner,sunxi-btlpm";
	uart_index = <0x2>;
	bt_wake = <&pio PE 7 GPIO_ACTIVE_HIGH>;
	bt_hostwake = <&pio PE 6 GPIO_ACTIVE_HIGH>;
	status = "okay";
};

&addr_mgt {
	compatible = "allwinner,sunxi-addr_mgt";
	type_addr_wifi = <0x0>;
	type_addr_bt   = <0x0>;
	type_addr_eth  = <0x0>;
	status = "okay";
};

&mdio0 {
	status = "disabled";
	gmac0_phy0: ethernet-phy@1 {
		compatible = "ethernet-phy-ieee802.3-c22";
		/* RTL8201F */
		reg = <0>;
		max-speed = <100>;
		reset-gpios = <&pio PH 3 GPIO_ACTIVE_LOW>;
		reset-assert-us = <10000>;
		reset-deassert-us = <150000>;
	};
};

&gmac0 {
	phy-mode = "rmii";
	pinctrl-names = "default", "sleep";
	pinctrl-0 = <&gmac_pins_a>;
	pinctrl-1 = <&gmac_pins_b>;
	sunxi,phy-clk-type = <0>;
	tx-delay = <0>;
	rx-delay = <0>;
	phy-handle = <&gmac0_phy0>;
	status = "disabled";
	gmac3v3-supply = <&reg_dcdc1>;
};




/* VE enc freq 576M uses pll-video-4x as parent; set to 1152M (576*2)
 * so VE can do integer division. Otherwise VE changing parent
 * clock frequency may disturb TCON frame rate. */
&ccu {
	assigned-clocks = <&ccu CLK_PLL_VIDEO_4X>;
	assigned-clock-rates = <1152000000>;
};

&dram {
	dram_para00 = <1056>;
	dram_para01 = <3>;
	dram_para02 = <0x7b6bfb>;
	dram_para03 = <0x1>;
	dram_para04 = <0x000010d2>;
	dram_para05 = <0x00000000>;
	dram_para06 = <0x1c70>;
	dram_para07 = <0x2>;
	dram_para08 = <0x18>;
	dram_para09 = <0x0>;
	dram_para10 = <0x004A2195>;
	dram_para11 = <0x02423190>;
	dram_para12 = <0x0008B061>;
	dram_para13 = <0xB4787896>;
	dram_para14 = <0x0>;
	dram_para15 = <0x48484848>;
	dram_para16 = <0x48>;
	dram_para17 = <0x1621121e>;
	dram_para18 = <0x0>;
	dram_para19 = <0x0>;
	dram_para20 = <0x0>;
	dram_para21 = <0x00460000>;
	dram_para22 = <0x00000055>;
	dram_para23 = <0x34010100>;
};

&pmc {
	pmc_irq_boot_en = <1>;
	pmc_irq_en = <1>;
	pmc_alarm_waleup_en = <0>;
	pmc_on2off_extra_en = <0>;
	pmc_vbus_wakeup_en = <0>;
	pmc_vbus_control_en = <0>;
	pmc_boot_seq = <0>;
	pmc_hw_clk_gating = <0>;
	wup_timer_wake_en = <1>;
	status = "okay";
};

&pmc_powerkey {
	pmu_powkey_off_time = <6000>;
	pmu_powkey_off_func = <0>;
	pmu_powkey_off_en = <1>;
	pmu_powkey_long_time = <1500>;
	pmu_powkey_on_time = <512>;
	wakeup_rising;
	status = "okay";
};

&pmc_usb_power_supply {
	pmu_usbpc_vol = <4600>;
	pmu_usbpc_cur = <500>;
	pmu_usbad_vol = <4600>;
	pmu_usbad_cur = <2500>;
	wakeup_usb_in;
	wakeup_usb_out;
	status = "okay";
};
